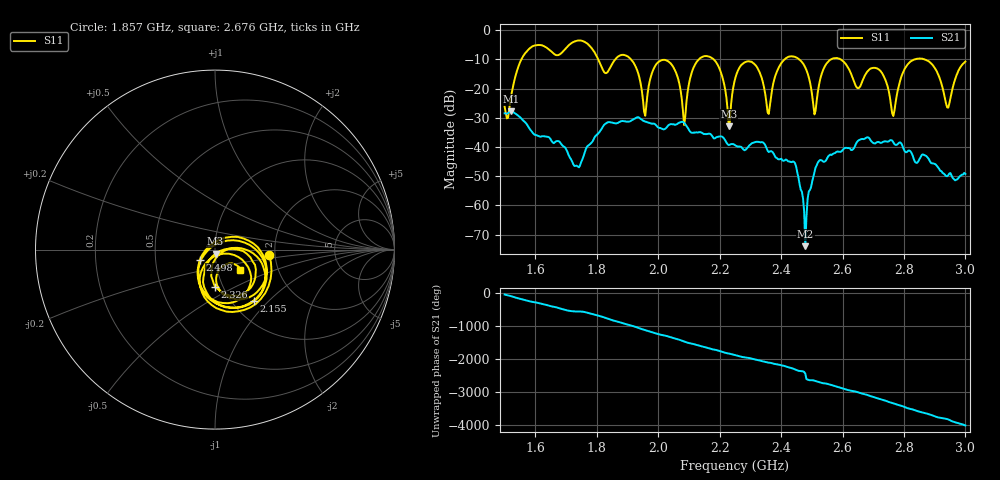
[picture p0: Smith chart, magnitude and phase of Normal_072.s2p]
# HZ S RI R 50
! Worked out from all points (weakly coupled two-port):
!   404 points, 1.5 GHz to 3 GHz, reference 50 ohm
!   highest |S21| = -27.74 dB at 1.522 GHz (marker M1); lowest = -73.9 dB at 2.479 GHz (marker M2)
!   lowest |S11| = -33.0 dB at 2.23 GHz (marker M3), VSWR 1.05, Z = 50.2 - j2.24 ohm
!   |S11| at or under -10 dB: 1.911 GHz to 2.132 GHz (220.9 MHz wide, 10.9 % of centre); 2.18 GHz to 2.412 GHz (231.2 MHz wide, 10.1 % of centre); 2.594 GHz to 2.835 GHz (241 MHz wide, 8.88 % of centre) (the widest 3 of 7)
!   S12 and S22 are empty: the file has one direction only
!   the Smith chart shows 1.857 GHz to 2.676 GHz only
!   S11 on the Smith chart (normalised r, x): 1.857 GHz: 1.86, -0.12; 2.155 GHz: 1.25, -0.83; 2.326 GHz: 0.92, -0.40; 2.498 GHz: 0.84, -0.10; 2.676 GHz: 1.29, -0.30
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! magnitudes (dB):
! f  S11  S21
! 1.5 GHz  -26.1  -28.5
! 1.522 GHz  -21.9  -27.7
! 1.586 GHz  -5.9  -34.3
! 1.753 GHz  -3.7  -44.2
! 1.857 GHz  -10.4  -31.8
! 1.958 GHz  -29.3  -31.3
! 2.002 GHz  -10.8  -33.4
! 2.084 GHz  -32.5  -31.6
! 2.155 GHz  -8.9  -35.6
! 2.23 GHz  -33.0  -39.3
! 2.252 GHz  -16.1  -39.5
! 2.326 GHz  -13.6  -38.2
! 2.36 GHz  -28.7  -41.7
! 2.442 GHz  -9.0  -45.0
! 2.479 GHz  -12.8  -73.9
! 2.498 GHz  -19.7  -53.7
! 2.501 GHz  -22.3  -51.8
! 2.676 GHz  -14.9  -36.9
! 2.751 GHz  -20.9  -38.1
! 2.859 GHz  -9.8  -42.6
! 2.944 GHz  -26.5  -49.6
! 3 GHz  -10.8  -49.2
